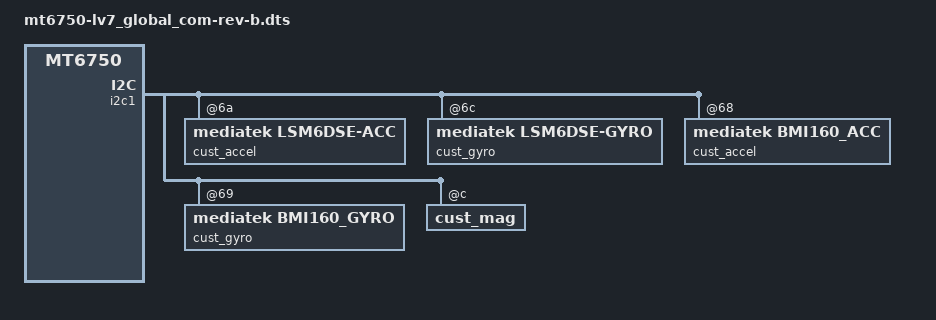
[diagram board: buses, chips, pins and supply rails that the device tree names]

/dts-v1/;

#include "../muse6750_hdk_n_lge.dtsi"

#include "../mt6750-common.dtsi"

#include "mt6750-lv7_global_com-power.dtsi"
#include "mt6750-lv7_global_com-panel.dtsi"
#include "mt6750-lv7_global_com-touch.dtsi"
#include "mt6750-lv7_global_com-sensor.dtsi"
#include "mt6750-lv7_global_com-fingerprint.dtsi"
#include "mt6750-lv7_global_com-misc.dtsi"
#include "mt6750-lv7_global_com-sound.dtsi"
#include "mt6750-lv7_global_com-nfc.dtsi"
#include "mt6750-lv7_global_com-common.dtsi"
#include "mt6750-lv7_global_com-usb.dtsi"
#include "mt6750-lv7_global_com-camera.dtsi"
#include "mt6750-lv7_global_com-dtv.dtsi"

/ {
	/*
	typedef enum {
		HW_REV_0 = 0,
		HW_REV_0_1,
		HW_REV_A,
		HW_REV_B,
		HW_REV_C,
		HW_REV_1_0,
		HW_REV_1_1,
		HW_REV_MAX
	} rev_type;
	*/
	lge,pcb_revision = <0x3>; // rev_b
};

&bat_meter {
	/* cust_battery_meter.h */
	r_charger_2 = <39 >;
};

&i2c1 {
	cust_accel@6a {
		compatible = "mediatek,lsm6dse-acc";
		direction = <7>;
	};

	cust_gyro@6c {
		compatible = "mediatek,lsm6dse-gyro";
		direction = <7>;
	};

	cust_accel@68 {
		compatible = "mediatek,bmi160_acc";
		direction = <4>;
	};

	cust_gyro@69 {
		compatible = "mediatek,bmi160_gyro";
		direction = <4>;
	};

	cust_mag@c {
		direction = <4>;
	};
};
